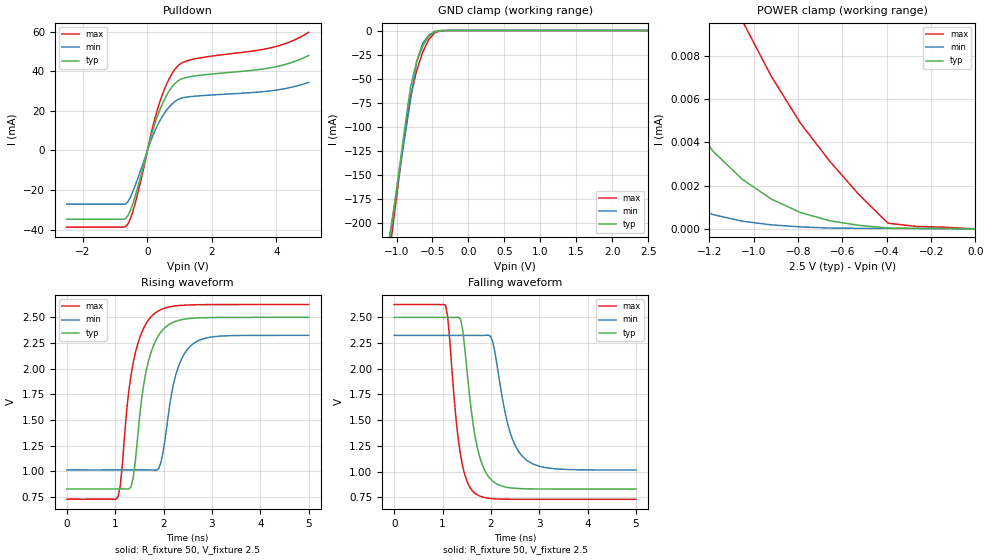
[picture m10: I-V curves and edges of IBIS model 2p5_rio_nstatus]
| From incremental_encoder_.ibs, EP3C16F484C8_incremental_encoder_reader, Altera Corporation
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[Model] 2p5_rio_nstatus
Model_type I/O_open_drain
Polarity Non-Inverting
Enable Active-Low
Vinl  = 0.7V
Vinh  = 1.7V
Vmeas = 1.1625V
Rref  = 10M
Cref  = 0pF
Vref  = 0V
C_comp  4.4pF   4.4pF   4.4pF
[Temperature Range] 25   85   0
[Voltage Range]   2.5   2.325   2.625
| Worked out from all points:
|   slope of the pulldown table from 0 to 0.375 V, typ, clamps not added: 18.7 ohm
|   GND clamp passes 1 mA (typ) near -0.45 V on its own axis
|   rising waveform, R_fixture 50, V_fixture 2.5: 20-80 % time 318ps typ, 323ps min, 315ps max; typ from 0.83 V to 2.5 V
|   falling waveform, R_fixture 50, V_fixture 2.5: 20-80 % time 290ps typ, 361ps min, 240ps max; typ from 2.5 V to 0.83 V
[GND Clamp]
| voltage   I (typ)   I (min)   I (max)
-2.5V     -1.003A    -896.6mA   -1.061A
-1.144V   -246.2mA   -237.3mA   -259.1mA
-1.059V   -198.9mA   -196.1mA   -209mA
-974.6mV  -151.6mA   -154.9mA   -158.9mA
-889.8mV  -104.3mA   -113.6mA   -108.8mA
-805.1mV  -58.87mA   -72.41mA   -68.82mA
-720.3mV  -32.71mA   -32.28mA   -41.9mA
-635.6mV  -16.39mA   -13.32mA   -22.54mA
-550.8mV  -6.002mA   -4.742mA   -9.332mA
-466.1mV  -1.153mA   -978.7uA   -2.246mA
-296.6mV  -4.671uA   -8.865uA   -9.476uA
2.5V      0A         0A         0A
[Pulldown]
| voltage   I (typ)   I (min)   I (max)
-2.5V     -34.78mA   -27.18mA   -38.8mA
-757.6mV  -34.78mA   -27.18mA   -38.8mA
-606.1mV  -32.96mA   -25.89mA   -37.13mA
-530.3mV  -30.44mA   -23.73mA   -34.6mA
-378.8mV  -23.02mA   -17.66mA   -26.64mA
151.5mV   9.292mA    6.8mA      11.07mA
378.8mV   20.26mA    14.83mA    24.28mA
681.8mV   30.22mA    22.1mA     36.47mA
984.9mV   35.54mA    26.01mA    43.31mA
1.515V    37.71mA    27.46mA    46.41mA
3.864V    41.88mA    30.19mA    52mA
5V        48mA       34.41mA    59.67mA
[POWER Clamp]
| voltage   I (typ)   I (min)   I (max)
-2.5V     124.2uA    71.4uA     182.5uA
-1.842V   22.83uA    9.323uA    54.47uA
-1.71V    16.91uA    6.328uA    36.85uA
-1.579V   12.15uA    3.972uA    28.84uA
-1.447V   8.324uA    2.282uA    22.32uA
-1.316V   5.498uA    1.229uA    16.96uA
-1.184V   3.593uA    664.1nA    12.8uA
-1.053V   2.304uA    360.8nA    9.644uA
-789.5mV  760.1nA    93.71nA    4.89uA
-526.3mV  168.2nA    28.96nA    1.594uA
-394.7mV  45.58nA    23.7nA     267.4nA
0V        0A         0A         0A
[Ramp]
dV/dt_r   1.002e+000/3.176e-010  7.860e-001/3.230e-010  1.137e+000/3.151e-010
dV/dt_f   1.002e+000/2.896e-010  7.860e-001/3.611e-010  1.137e+000/2.397e-010
R_load = 50ohms
[Rising Waveform]
R_fixture   = 50
V_fixture   = 2.5
V_fixture_min = 2.325
V_fixture_max = 2.625
| time   V (typ)   V (min)   V (max)
0s        829.6mV    1.015V     729.7mV
1.06ns    829.6mV    1.015V     756.2mV
1.282ns   827.9mV    1.015V     1.786V
1.37ns    933.4mV    1.015V     2.055V
1.592ns   1.855V     1.015V     2.399V
1.813ns   2.249V     1.012V     2.537V
1.946ns   2.358V     1.089V     2.575V
2.256ns   2.462V     1.946V     2.612V
2.567ns   2.49V      2.225V     2.621V
5ns       2.5V       2.325V     2.625V
[Falling Waveform]
R_fixture   = 50
V_fixture   = 2.5
V_fixture_min = 2.325
V_fixture_max = 2.625
| time   V (typ)   V (min)   V (max)
0s        2.5V       2.325V     2.625V
1.06ns    2.5V       2.325V     2.621V
1.104ns   2.5V       2.325V     2.513V
1.282ns   2.5V       2.325V     1.492V
1.37ns    2.485V     2.325V     1.166V
1.68ns    1.321V     2.325V     785.1mV
2.035ns   907.4mV    2.266V     736.1mV
2.389ns   842.5mV    1.392V     730.5mV
2.744ns   831.8mV    1.109V     729.8mV
5ns       829.6mV    1.015V     729.7mV
